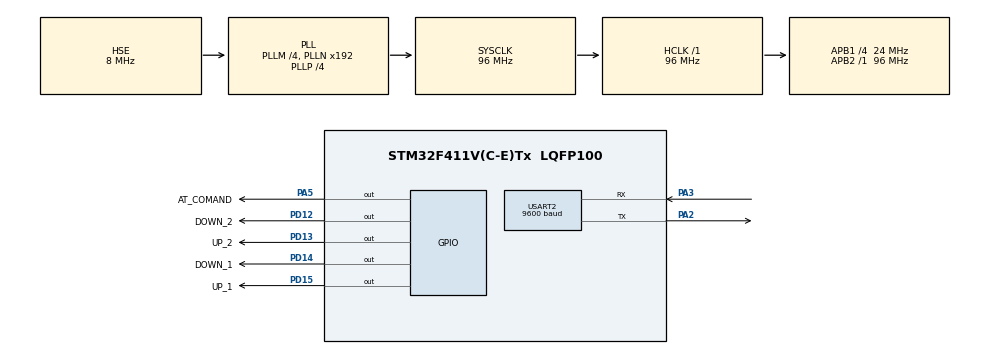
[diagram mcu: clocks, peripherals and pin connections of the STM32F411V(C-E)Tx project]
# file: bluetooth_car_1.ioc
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Mcu.Family=STM32F4
Mcu.Name=STM32F411V(C-E)Tx
Mcu.Package=LQFP100
NVIC.PriorityGroup=NVIC_PRIORITYGROUP_0
NVIC.TIM2_IRQn=true\:0\:0\:false\:false\:true\:true\:true
NVIC.USART2_IRQn=true\:0\:0\:false\:false\:true\:true\:true
PA13.Mode=Serial_Wire
PA13.Signal=SYS_JTMS-SWDIO
PA14.GPIO_Label=SWCLK
PA14.Mode=Serial_Wire
PA14.Signal=SYS_JTCK-SWCLK
PA2.Mode=Asynchronous
PA2.Signal=USART2_TX
PA3.Mode=Asynchronous
PA3.Signal=USART2_RX
PA5.GPIO_Label=AT_COMAND
PA5.GPIO_Speed=GPIO_SPEED_FREQ_MEDIUM
PA5.Signal=GPIO_Output
PD12.GPIO_Label=DOWN_2
PD12.Signal=GPIO_Output
PD13.GPIO_Label=UP_2
PD13.Signal=GPIO_Output
PD14.GPIO_Label=DOWN_1
PD14.Signal=GPIO_Output
PD15.GPIO_Label=UP_1
PD15.Signal=GPIO_Output
PH0\ -\ OSC_IN.Mode=HSE-External-Oscillator
PH0\ -\ OSC_IN.Signal=RCC_OSC_IN
PH1\ -\ OSC_OUT.Mode=HSE-External-Oscillator
PH1\ -\ OSC_OUT.Signal=RCC_OSC_OUT
ProjectManager.HeapSize=0x200
ProjectManager.StackSize=0x400
ProjectManager.TargetToolchain=SW4STM32
RCC.48MHZClocksFreq_Value=48000000
RCC.AHBFreq_Value=96000000
RCC.APB1CLKDivider=RCC_HCLK_DIV4
RCC.APB1Freq_Value=24000000
RCC.APB1TimFreq_Value=48000000
RCC.APB2Freq_Value=96000000
RCC.APB2TimFreq_Value=96000000
RCC.CortexFreq_Value=96000000
RCC.HCLKFreq_Value=96000000
RCC.HSE_VALUE=8000000
RCC.HSI_VALUE=16000000
RCC.LSE_VALUE=32768
RCC.PLLI2SM=5
RCC.PLLI2SN=200
RCC.PLLM=4
RCC.PLLP=RCC_PLLP_DIV4
RCC.PLLQ=8
RCC.PLLSourceVirtual=RCC_PLLSOURCE_HSE
RCC.SYSCLKFreq_VALUE=96000000
RCC.SYSCLKSource=RCC_SYSCLKSOURCE_PLLCLK
RCC.VCOOutputFreq_Value=384000000
TIM2.Period=4000
TIM2.Prescaler=35999
TIM2.TIM_MasterOutputTrigger=TIM_TRGO_UPDATE
USART2.BaudRate=9600
USART2.VirtualMode=VM_ASYNC
VP_TIM2_VS_ClockSourceINT.Mode=Internal
board=STM32F411E-DISCO

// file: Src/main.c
/* USER CODE BEGIN Header */
/**
  ******************************************************************************
  * @file           : main.c
  * @brief          : Main program body
  ******************************************************************************
  * @attention
  *
  * <h2><center>&copy; Copyright (c) 2019 STMicroelectronics.
  * All rights reserved.</center></h2>
  *
  * This software component is licensed by ST under BSD 3-Clause license,
  * the "License"; You may not use this file except in compliance with the
  * License. You may obtain a copy of the License at:
  *                        opensource.org/licenses/BSD-3-Clause
  *
  ******************************************************************************
  */
/* USER CODE END Header */

#include "main.h"
#include "tim.h"
#include "usart.h"
#include "gpio.h"

/* USER CODE BEGIN Includes */
#include <stdio.h>
#include <string.h>
/* USER CODE END Includes */

/* USER CODE BEGIN PV */
unsigned char str1[100] = "NOT STR\n";
unsigned char str2[100] = "STR\n";

/* USER CODE END PV */

void SystemClock_Config(void);
uint8_t byte;
/* USER CODE BEGIN PFP */

void reset_all(){
	  HAL_GPIO_WritePin(GPIOD, UP_1_Pin, GPIO_PIN_RESET);
	  HAL_GPIO_WritePin(GPIOD, UP_2_Pin, GPIO_PIN_RESET);
	  HAL_GPIO_WritePin(GPIOD, DOWN_1_Pin, GPIO_PIN_RESET);
	  HAL_GPIO_WritePin(GPIOD, DOWN_2_Pin, GPIO_PIN_RESET);
}

uint8_t byte_2;

volatile HAL_StatusTypeDef r;

void HAL_UART_RxCpltCallback(UART_HandleTypeDef *huart)
{
  if (huart->Instance == USART2)
  {
	  if (byte == '1'){
		  reset_all();
		HAL_UART_Transmit(&huart2, str2, strlen((char*)str2), 100);
		  HAL_GPIO_TogglePin(GPIOD, UP_1_Pin);
		  HAL_GPIO_TogglePin(GPIOD, UP_2_Pin);
	    str2[99] = '\0';
	  }
	  if (byte == '2'){
		  reset_all();
		HAL_UART_Transmit(&huart2, str1, strlen((char*)str1), 100);
//		  HAL_GPIO_TogglePin(GPIOD, DOWN_1_Pin);
//		  HAL_GPIO_TogglePin(GPIOD, DOWN_2_Pin);
		str1[99] = '\0';
	  }
	  if (byte == '3'){
		  reset_all();
	  		HAL_UART_Transmit(&huart2, str1, strlen((char*)str1), 100);
			  HAL_GPIO_WritePin(GPIOD, DOWN_2_Pin, 1);
			  HAL_GPIO_WritePin(GPIOD, UP_2_Pin, 1);
	  		str1[99] = '\0';
	  	  }
	  if (byte == '4'){
		  reset_all();
	  		HAL_UART_Transmit(&huart2, str1, strlen((char*)str1), 100);
			HAL_GPIO_WritePin(GPIOD, UP_1_Pin, 1);
			HAL_GPIO_WritePin(GPIOD, DOWN_1_Pin, 1);
	  		str1[99] = '\0';
	  	  }
  }
//  reset_all();
  HAL_UART_Receive_IT(&huart2, &byte, 1);
}

/* USER CODE END PFP */

int main(void)
{

  /* MCU Configuration--------------------------------------------------------*/

  /* Reset of all peripherals, Initializes the Flash interface and the Systick. */
  HAL_Init();

  /* Configure the system clock */
  SystemClock_Config();

  /* Initialize all configured peripherals */
  MX_GPIO_Init();
  MX_TIM2_Init();
  MX_USART2_UART_Init();

  /* Infinite loop */
  /* USER CODE BEGIN WHILE */
	HAL_UART_Receive_IT(&huart2, &byte, 1);
  while (1)
  {
    /* USER CODE END WHILE */

  }
}

void SystemClock_Config(void)
{
  RCC_OscInitTypeDef RCC_OscInitStruct = {0};
  RCC_ClkInitTypeDef RCC_ClkInitStruct = {0};

  /** Configure the main internal regulator output voltage
  */
  __HAL_RCC_PWR_CLK_ENABLE();
  __HAL_PWR_VOLTAGESCALING_CONFIG(PWR_REGULATOR_VOLTAGE_SCALE1);
  /** Initializes the CPU, AHB and APB busses clocks
  */
  RCC_OscInitStruct.OscillatorType = RCC_OSCILLATORTYPE_HSE;
  RCC_OscInitStruct.HSEState = RCC_HSE_ON;
  RCC_OscInitStruct.PLL.PLLState = RCC_PLL_ON;
  RCC_OscInitStruct.PLL.PLLSource = RCC_PLLSOURCE_HSE;
  RCC_OscInitStruct.PLL.PLLM = 4;
  RCC_OscInitStruct.PLL.PLLN = 192;
  RCC_OscInitStruct.PLL.PLLP = RCC_PLLP_DIV4;
  RCC_OscInitStruct.PLL.PLLQ = 8;
  if (HAL_RCC_OscConfig(&RCC_OscInitStruct) != HAL_OK)
  {
    Error_Handler();
  }
  /** Initializes the CPU, AHB and APB busses clocks
  */
  RCC_ClkInitStruct.ClockType = RCC_CLOCKTYPE_HCLK|RCC_CLOCKTYPE_SYSCLK
                              |RCC_CLOCKTYPE_PCLK1|RCC_CLOCKTYPE_PCLK2;
  RCC_ClkInitStruct.SYSCLKSource = RCC_SYSCLKSOURCE_PLLCLK;
  RCC_ClkInitStruct.AHBCLKDivider = RCC_SYSCLK_DIV1;
  RCC_ClkInitStruct.APB1CLKDivider = RCC_HCLK_DIV4;
  RCC_ClkInitStruct.APB2CLKDivider = RCC_HCLK_DIV1;

  if (HAL_RCC_ClockConfig(&RCC_ClkInitStruct, FLASH_LATENCY_3) != HAL_OK)
  {
    Error_Handler();
  }
}

void Error_Handler(void)
{
}

/************************ (C) COPYRIGHT STMicroelectronics *****END OF FILE****/
